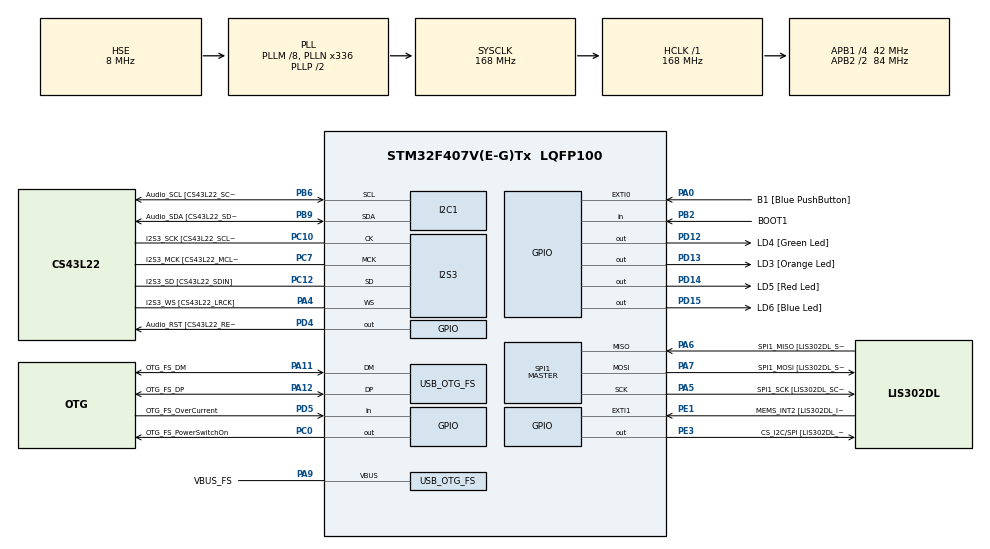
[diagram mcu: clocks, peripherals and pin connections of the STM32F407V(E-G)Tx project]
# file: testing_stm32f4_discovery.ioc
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I2S3.AudioFreq-Half_Duplex_Master=I2S_AUDIOFREQ_96K
I2S3.ErrorAudioFreq=-2.34 %
I2S3.ErrorAudioFreq-Half_Duplex_Master=0.8 %
I2S3.FullDuplexMode=I2S_FULLDUPLEXMODE_DISABLE
I2S3.Instance=SPI$Index
I2S3.RealAudioFreq=93.75 KHz
I2S3.RealAudioFreq-Half_Duplex_Master=96.774 KHz
I2S3.VirtualMode=I2S_MODE_MASTER
Mcu.Family=STM32F4
Mcu.Name=STM32F407V(E-G)Tx
Mcu.Package=LQFP100
NVIC.OTG_FS_IRQn=true\:0\:0\:false\:false\:true\:true\:true\:true
NVIC.PriorityGroup=NVIC_PRIORITYGROUP_0
PA0-WKUP.GPIO_Label=B1 [Blue PushButton]
PA0-WKUP.GPIO_ModeDefaultEXTI=GPIO_MODE_EVT_RISING
PA0-WKUP.GPIO_PuPd=GPIO_NOPULL
PA0-WKUP.Signal=GPXTI0
PA10.GPIO_Label=OTG_FS_ID
PA10.GPIO_Mode=GPIO_MODE_AF_PP
PA10.GPIO_PuPd=GPIO_NOPULL
PA10.GPIO_Speed=GPIO_SPEED_FREQ_LOW
PA10.Signal=USB_OTG_FS_ID
PA11.GPIO_Label=OTG_FS_DM
PA11.GPIO_Mode=GPIO_MODE_AF_PP
PA11.GPIO_PuPd=GPIO_NOPULL
PA11.GPIO_Speed=GPIO_SPEED_FREQ_LOW
PA11.Mode=Host_Only
PA11.Signal=USB_OTG_FS_DM
PA12.GPIO_Label=OTG_FS_DP
PA12.GPIO_Mode=GPIO_MODE_AF_PP
PA12.GPIO_PuPd=GPIO_NOPULL
PA12.GPIO_Speed=GPIO_SPEED_FREQ_LOW
PA12.Mode=Host_Only
PA12.Signal=USB_OTG_FS_DP
PA13.GPIO_Label=SWDIO
PA13.Mode=Serial_Wire
PA13.Signal=SYS_JTMS-SWDIO
PA14.GPIO_Label=SWCLK
PA14.Mode=Serial_Wire
PA14.Signal=SYS_JTCK-SWCLK
PA4.GPIO_Label=I2S3_WS [CS43L22_LRCK]
PA4.GPIO_Mode=GPIO_MODE_AF_PP
PA4.GPIO_PuPd=GPIO_NOPULL
PA4.GPIO_Speed=GPIO_SPEED_FREQ_LOW
PA4.Mode=Half_Duplex_Master
PA4.Signal=I2S3_WS
PA5.GPIO_Label=SPI1_SCK [LIS302DL_SCL/SPC]
PA5.GPIO_Mode=GPIO_MODE_AF_PP
PA5.GPIO_PuPd=GPIO_NOPULL
PA5.GPIO_Speed=GPIO_SPEED_FREQ_LOW
PA5.Mode=Full_Duplex_Master
PA5.Signal=SPI1_SCK
PA6.GPIO_Label=SPI1_MISO [LIS302DL_SDO]
PA6.GPIO_Mode=GPIO_MODE_AF_PP
PA6.GPIO_PuPd=GPIO_NOPULL
PA6.GPIO_Speed=GPIO_SPEED_FREQ_LOW
PA6.Mode=Full_Duplex_Master
PA6.Signal=SPI1_MISO
PA7.GPIO_Label=SPI1_MOSI [LIS302DL_SDA/SDI/SDO]
PA7.GPIO_Mode=GPIO_MODE_AF_PP
PA7.GPIO_PuPd=GPIO_NOPULL
PA7.GPIO_Speed=GPIO_SPEED_FREQ_LOW
PA7.Mode=Full_Duplex_Master
PA7.Signal=SPI1_MOSI
PA9.GPIO_Label=VBUS_FS
PA9.GPIO_Mode=GPIO_MODE_INPUT
PA9.GPIO_PuPd=GPIO_NOPULL
PA9.Mode=Activate_VBUS
PA9.Signal=USB_OTG_FS_VBUS
PB10.GPIO_Label=CLK_IN [MP45DT02_CLK]
PB10.GPIO_Mode=GPIO_MODE_AF_PP
PB10.GPIO_PuPd=GPIO_NOPULL
PB10.GPIO_Speed=GPIO_SPEED_FREQ_LOW
PB10.Signal=I2S2_CK
PB2.GPIO_Label=BOOT1
PB2.GPIO_Mode=GPIO_MODE_INPUT
PB2.GPIO_PuPd=GPIO_NOPULL
PB2.Signal=GPIO_Input
PB3.GPIO_Label=SWO
PB3.Signal=SYS_JTDO-SWO
PB6.GPIO_Label=Audio_SCL [CS43L22_SCL]
PB6.GPIO_Mode=GPIO_MODE_AF_OD
PB6.GPIO_Pu=GPIO_PULLUP
PB6.GPIO_PuPd=GPIO_NOPULL
PB6.GPIO_Speed=GPIO_SPEED_FREQ_LOW
PB6.Mode=I2C
PB6.Signal=I2C1_SCL
PB9.GPIO_Label=Audio_SDA [CS43L22_SDA]
PB9.GPIO_Mode=GPIO_MODE_AF_OD
PB9.GPIO_Pu=GPIO_PULLUP
PB9.GPIO_PuPd=GPIO_NOPULL
PB9.GPIO_Speed=GPIO_SPEED_FREQ_LOW
PB9.Mode=I2C
PB9.Signal=I2C1_SDA
PC0.GPIO_Label=OTG_FS_PowerSwitchOn
PC0.GPIO_PuPd=GPIO_NOPULL
PC0.GPIO_Speed=GPIO_SPEED_FREQ_LOW
PC0.PinState=GPIO_PIN_SET
PC0.Signal=GPIO_Output
PC10.GPIO_Label=I2S3_SCK [CS43L22_SCLK]
PC10.GPIO_Mode=GPIO_MODE_AF_PP
PC10.GPIO_PuPd=GPIO_NOPULL
PC10.GPIO_Speed=GPIO_SPEED_FREQ_LOW
PC10.Mode=Half_Duplex_Master
PC10.Signal=I2S3_CK
PC12.GPIO_Label=I2S3_SD [CS43L22_SDIN]
PC12.GPIO_Mode=GPIO_MODE_AF_PP
PC12.GPIO_PuPd=GPIO_NOPULL
PC12.GPIO_Speed=GPIO_SPEED_FREQ_LOW
PC12.Mode=Half_Duplex_Master
PC12.Signal=I2S3_SD
PC14-OSC32_IN.GPIO_Label=PC14-OSC32_IN
PC14-OSC32_IN.Mode=LSE-External-Oscillator
PC14-OSC32_IN.Signal=RCC_OSC32_IN
PC15-OSC32_OUT.GPIO_Label=PC15-OSC32_OUT
PC15-OSC32_OUT.Mode=LSE-External-Oscillator
PC15-OSC32_OUT.Signal=RCC_OSC32_OUT
PC3.GPIO_Label=PDM_OUT [MP45DT02_DOUT]
PC3.GPIO_Mode=GPIO_MODE_AF_PP
PC3.GPIO_PuPd=GPIO_NOPULL
PC3.GPIO_Speed=GPIO_SPEED_FREQ_LOW
PC3.Signal=I2S2_SD
PC7.GPIO_Label=I2S3_MCK [CS43L22_MCLK]
PC7.GPIO_Mode=GPIO_MODE_AF_PP
PC7.GPIO_PuPd=GPIO_NOPULL
PC7.GPIO_Speed=GPIO_SPEED_FREQ_LOW
PC7.Mode=Master_Clock_Activated
PC7.Signal=I2S3_MCK
PD12.GPIO_Label=LD4 [Green Led]
PD12.GPIO_PuPd=GPIO_NOPULL
PD12.GPIO_Speed=GPIO_SPEED_FREQ_LOW
PD12.Signal=GPIO_Output
PD13.GPIO_Label=LD3 [Orange Led]
PD13.GPIO_PuPd=GPIO_NOPULL
PD13.GPIO_Speed=GPIO_SPEED_FREQ_LOW
PD13.Signal=GPIO_Output
PD14.GPIO_Label=LD5 [Red Led]
PD14.GPIO_PuPd=GPIO_NOPULL
PD14.GPIO_Speed=GPIO_SPEED_FREQ_LOW
PD14.Signal=GPIO_Output
PD15.GPIO_Label=LD6 [Blue Led]
PD15.GPIO_PuPd=GPIO_NOPULL
PD15.GPIO_Speed=GPIO_SPEED_FREQ_LOW
PD15.Signal=GPIO_Output
PD4.GPIO_Label=Audio_RST [CS43L22_RESET]
PD4.GPIO_PuPd=GPIO_NOPULL
PD4.GPIO_Speed=GPIO_SPEED_FREQ_LOW
PD4.Signal=GPIO_Output
PD5.GPIO_Label=OTG_FS_OverCurrent
PD5.GPIO_Mode=GPIO_MODE_INPUT
PD5.GPIO_PuPd=GPIO_NOPULL
PD5.Signal=GPIO_Input
PE1.GPIO_Label=MEMS_INT2 [LIS302DL_INT2]
PE1.GPIO_ModeDefaultEXTI=GPIO_MODE_EVT_RISING
PE1.GPIO_PuPd=GPIO_NOPULL
PE1.Signal=GPXTI1
PE3.GPIO_Label=CS_I2C/SPI [LIS302DL_CS_I2C/SPI]
PE3.GPIO_PuPd=GPIO_NOPULL
PE3.GPIO_Speed=GPIO_SPEED_FREQ_LOW
PE3.Signal=GPIO_Output
PH0-OSC_IN.GPIO_Label=PH0-OSC_IN
PH0-OSC_IN.Mode=HSE-External-Oscillator
PH0-OSC_IN.Signal=RCC_OSC_IN
PH1-OSC_OUT.GPIO_Label=PH1-OSC_OUT
PH1-OSC_OUT.Mode=HSE-External-Oscillator
PH1-OSC_OUT.Signal=RCC_OSC_OUT
ProjectManager.HeapSize=0x200
ProjectManager.StackSize=0x400
ProjectManager.TargetToolchain=STM32CubeIDE
RCC.48MHZClocksFreq_Value=48000000
RCC.AHBFreq_Value=168000000
RCC.APB1CLKDivider=RCC_HCLK_DIV4
RCC.APB1Freq_Value=42000000
RCC.APB1TimFreq_Value=84000000
RCC.APB2CLKDivider=RCC_HCLK_DIV2
RCC.APB2Freq_Value=84000000
RCC.APB2TimFreq_Value=168000000
RCC.CortexFreq_Value=168000000
RCC.HCLKFreq_Value=168000000
RCC.HSE_VALUE=8000000
RCC.HSI_VALUE=16000000
RCC.PLLM=8
RCC.PLLN=336
RCC.PLLQ=7
RCC.SYSCLKFreq_VALUE=168000000
RCC.SYSCLKSource=RCC_SYSCLKSOURCE_PLLCLK
RCC.VCOOutputFreq_Value=336000000
SPI1.BaudRatePrescaler-Full_Duplex_Master=SPI_BAUDRATEPRESCALER_2
SPI1.CalculateBaudRate-Full_Duplex_Master=42.0 MBits/s
SPI1.Direction=SPI_DIRECTION_2LINES
SPI1.Mode=SPI_MODE_MASTER
SPI1.Mode-Full_Duplex_Master=SPI_MODE_MASTER
SPI1.VirtualType=VM_MASTER
USB_HOST.BSP.number=1
USB_HOST.USBH_HandleTypeDef-CDC_FS=hUsbHostFS
USB_HOST.VirtualModeFS=Cdc
USB_HOST0.BSP.STBoard=false
USB_HOST0.BSP.api=Unknown
USB_HOST0.BSP.instance=PC0
USB_HOST0.BSP.ip=GPIO
USB_HOST0.BSP.mode=Output
USB_HOST0.BSP.name=Drive_VBUS_FS
USB_HOST0.BSP.solution=PC0
USB_OTG_FS.VirtualMode=Host_Only
USB_OTG_FS.phy_itface=HCD_PHY_EMBEDDED
VP_USB_HOST_VS_USB_HOST_CDC_FS.Mode=CDC_FS
board=STM32F407G-DISC1

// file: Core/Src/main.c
/* USER CODE BEGIN Header */
/**
  ******************************************************************************
  * @file           : main.c
  * @brief          : Main program body
  ******************************************************************************
  * @attention
  *
  * Copyright (c) 2023 STMicroelectronics.
  * All rights reserved.
  *
  * This software is licensed under terms that can be found in the LICENSE file
  * in the root directory of this software component.
  * If no LICENSE file comes with this software, it is provided AS-IS.
  *
  ******************************************************************************
  */
/* USER CODE END Header */
#include "main.h"
#include "usb_host.h"

I2C_HandleTypeDef hi2c1;

I2S_HandleTypeDef hi2s3;

SPI_HandleTypeDef hspi1;

void SystemClock_Config(void);
static void MX_GPIO_Init(void);
static void MX_I2C1_Init(void);
static void MX_I2S3_Init(void);
static void MX_SPI1_Init(void);
void MX_USB_HOST_Process(void);

int main(void)
{

  /* MCU Configuration--------------------------------------------------------*/

  /* Reset of all peripherals, Initializes the Flash interface and the Systick. */
  HAL_Init();

  /* Configure the system clock */
  SystemClock_Config();

  /* Initialize all configured peripherals */
  MX_GPIO_Init();
  MX_I2C1_Init();
  MX_I2S3_Init();
  MX_SPI1_Init();
  MX_USB_HOST_Init();
  /* USER CODE BEGIN 2 */

  /* PA0  on the STM32 | B1 blue button on the development board */
  int readBlueButton() {
    if ( HAL_GPIO_ReadPin(GPIOA, GPIO_PIN_0) == 1 ) {
      return 1;
    } else {
      return 0;
    }
  }

  /* PD12 on the STM32 | LD4 green LED on the development board */
  void turnOnLedGreen() {
    HAL_GPIO_WritePin(GPIOD, GPIO_PIN_12, GPIO_PIN_SET);
  }
  void turnOffLedGreen() {
    HAL_GPIO_WritePin(GPIOD, GPIO_PIN_12, GPIO_PIN_RESET);
  }

  /* PD13 on the STM32 | LD3 orange LED on the development board */
  void turnOnLedOrange() {
    HAL_GPIO_WritePin(GPIOD, GPIO_PIN_13, GPIO_PIN_SET);
  }
  void turnOffLedOrange() {
    HAL_GPIO_WritePin(GPIOD, GPIO_PIN_13, GPIO_PIN_RESET);
  }

  /* PD14 on the STM32 | LD5 red LED on the development board */
  void turnOnLedRed() {
    HAL_GPIO_WritePin(GPIOD, GPIO_PIN_14, GPIO_PIN_SET);
  }
  void turnOffLedRed() {
    HAL_GPIO_WritePin(GPIOD, GPIO_PIN_14, GPIO_PIN_RESET);
  }

  /* PD15 on the STM32 | LD6 blue LED on the development board */
  void turnOnLedBlue() {
    HAL_GPIO_WritePin(GPIOD, GPIO_PIN_15, GPIO_PIN_SET);
  }
  void turnOffLedBlue() {
    HAL_GPIO_WritePin(GPIOD, GPIO_PIN_15, GPIO_PIN_RESET);
  }

  /* USER CODE END 2 */

  /* Infinite loop */
  /* USER CODE BEGIN WHILE */
  while (1)
  {
    if ( readBlueButton() == 1 ) {
      turnOnLedOrange();
    } else {
      turnOffLedOrange();
    }

    /* HAL_GPIO_TogglePin (GPIOD, GPIO_PIN_13); */
    /* HAL_Delay (100);   */

    /* USER CODE END WHILE */
    MX_USB_HOST_Process();
  }
}

void SystemClock_Config(void)
{
  RCC_OscInitTypeDef RCC_OscInitStruct = {0};
  RCC_ClkInitTypeDef RCC_ClkInitStruct = {0};

  /** Configure the main internal regulator output voltage
  */
  __HAL_RCC_PWR_CLK_ENABLE();
  __HAL_PWR_VOLTAGESCALING_CONFIG(PWR_REGULATOR_VOLTAGE_SCALE1);

  /** Initializes the RCC Oscillators according to the specified parameters
  * in the RCC_OscInitTypeDef structure.
  */
  RCC_OscInitStruct.OscillatorType = RCC_OSCILLATORTYPE_HSE;
  RCC_OscInitStruct.HSEState = RCC_HSE_ON;
  RCC_OscInitStruct.PLL.PLLState = RCC_PLL_ON;
  RCC_OscInitStruct.PLL.PLLSource = RCC_PLLSOURCE_HSE;
  RCC_OscInitStruct.PLL.PLLM = 8;
  RCC_OscInitStruct.PLL.PLLN = 336;
  RCC_OscInitStruct.PLL.PLLP = RCC_PLLP_DIV2;
  RCC_OscInitStruct.PLL.PLLQ = 7;
  if (HAL_RCC_OscConfig(&RCC_OscInitStruct) != HAL_OK)
  {
    Error_Handler();
  }

  /** Initializes the CPU, AHB and APB buses clocks
  */
  RCC_ClkInitStruct.ClockType = RCC_CLOCKTYPE_HCLK|RCC_CLOCKTYPE_SYSCLK
                              |RCC_CLOCKTYPE_PCLK1|RCC_CLOCKTYPE_PCLK2;
  RCC_ClkInitStruct.SYSCLKSource = RCC_SYSCLKSOURCE_PLLCLK;
  RCC_ClkInitStruct.AHBCLKDivider = RCC_SYSCLK_DIV1;
  RCC_ClkInitStruct.APB1CLKDivider = RCC_HCLK_DIV4;
  RCC_ClkInitStruct.APB2CLKDivider = RCC_HCLK_DIV2;

  if (HAL_RCC_ClockConfig(&RCC_ClkInitStruct, FLASH_LATENCY_5) != HAL_OK)
  {
    Error_Handler();
  }
}

static void MX_I2C1_Init(void)
{

  hi2c1.Instance = I2C1;
  hi2c1.Init.ClockSpeed = 100000;
  hi2c1.Init.DutyCycle = I2C_DUTYCYCLE_2;
  hi2c1.Init.OwnAddress1 = 0;
  hi2c1.Init.AddressingMode = I2C_ADDRESSINGMODE_7BIT;
  hi2c1.Init.DualAddressMode = I2C_DUALADDRESS_DISABLE;
  hi2c1.Init.OwnAddress2 = 0;
  hi2c1.Init.GeneralCallMode = I2C_GENERALCALL_DISABLE;
  hi2c1.Init.NoStretchMode = I2C_NOSTRETCH_DISABLE;
  if (HAL_I2C_Init(&hi2c1) != HAL_OK)
  {
    Error_Handler();
  }

}

static void MX_I2S3_Init(void)
{

  hi2s3.Instance = SPI3;
  hi2s3.Init.Mode = I2S_MODE_MASTER_TX;
  hi2s3.Init.Standard = I2S_STANDARD_PHILIPS;
  hi2s3.Init.DataFormat = I2S_DATAFORMAT_16B;
  hi2s3.Init.MCLKOutput = I2S_MCLKOUTPUT_ENABLE;
  hi2s3.Init.AudioFreq = I2S_AUDIOFREQ_96K;
  hi2s3.Init.CPOL = I2S_CPOL_LOW;
  hi2s3.Init.ClockSource = I2S_CLOCK_PLL;
  hi2s3.Init.FullDuplexMode = I2S_FULLDUPLEXMODE_DISABLE;
  if (HAL_I2S_Init(&hi2s3) != HAL_OK)
  {
    Error_Handler();
  }

}

static void MX_SPI1_Init(void)
{

  /* SPI1 parameter configuration*/
  hspi1.Instance = SPI1;
  hspi1.Init.Mode = SPI_MODE_MASTER;
  hspi1.Init.Direction = SPI_DIRECTION_2LINES;
  hspi1.Init.DataSize = SPI_DATASIZE_8BIT;
  hspi1.Init.CLKPolarity = SPI_POLARITY_LOW;
  hspi1.Init.CLKPhase = SPI_PHASE_1EDGE;
  hspi1.Init.NSS = SPI_NSS_SOFT;
  hspi1.Init.BaudRatePrescaler = SPI_BAUDRATEPRESCALER_2;
  hspi1.Init.FirstBit = SPI_FIRSTBIT_MSB;
  hspi1.Init.TIMode = SPI_TIMODE_DISABLE;
  hspi1.Init.CRCCalculation = SPI_CRCCALCULATION_DISABLE;
  hspi1.Init.CRCPolynomial = 10;
  if (HAL_SPI_Init(&hspi1) != HAL_OK)
  {
    Error_Handler();
  }

}

static void MX_GPIO_Init(void)
{
  GPIO_InitTypeDef GPIO_InitStruct = {0};

  /* GPIO Ports Clock Enable */
  __HAL_RCC_GPIOE_CLK_ENABLE();
  __HAL_RCC_GPIOC_CLK_ENABLE();
  __HAL_RCC_GPIOH_CLK_ENABLE();
  __HAL_RCC_GPIOA_CLK_ENABLE();
  __HAL_RCC_GPIOB_CLK_ENABLE();
  __HAL_RCC_GPIOD_CLK_ENABLE();

  /*Configure GPIO pin Output Level */
  HAL_GPIO_WritePin(CS_I2C_SPI_GPIO_Port, CS_I2C_SPI_Pin, GPIO_PIN_RESET);

  /*Configure GPIO pin Output Level */
  HAL_GPIO_WritePin(OTG_FS_PowerSwitchOn_GPIO_Port, OTG_FS_PowerSwitchOn_Pin, GPIO_PIN_SET);

  /*Configure GPIO pin Output Level */
  HAL_GPIO_WritePin(GPIOD, LD4_Pin|LD3_Pin|LD5_Pin|LD6_Pin
                          |Audio_RST_Pin, GPIO_PIN_RESET);

  /*Configure GPIO pin : CS_I2C_SPI_Pin */
  GPIO_InitStruct.Pin = CS_I2C_SPI_Pin;
  GPIO_InitStruct.Mode = GPIO_MODE_OUTPUT_PP;
  GPIO_InitStruct.Pull = GPIO_NOPULL;
  GPIO_InitStruct.Speed = GPIO_SPEED_FREQ_LOW;
  HAL_GPIO_Init(CS_I2C_SPI_GPIO_Port, &GPIO_InitStruct);

  /*Configure GPIO pin : OTG_FS_PowerSwitchOn_Pin */
  GPIO_InitStruct.Pin = OTG_FS_PowerSwitchOn_Pin;
  GPIO_InitStruct.Mode = GPIO_MODE_OUTPUT_PP;
  GPIO_InitStruct.Pull = GPIO_NOPULL;
  GPIO_InitStruct.Speed = GPIO_SPEED_FREQ_LOW;
  HAL_GPIO_Init(OTG_FS_PowerSwitchOn_GPIO_Port, &GPIO_InitStruct);

  /*Configure GPIO pin : PDM_OUT_Pin */
  GPIO_InitStruct.Pin = PDM_OUT_Pin;
  GPIO_InitStruct.Mode = GPIO_MODE_AF_PP;
  GPIO_InitStruct.Pull = GPIO_NOPULL;
  GPIO_InitStruct.Speed = GPIO_SPEED_FREQ_LOW;
  GPIO_InitStruct.Alternate = GPIO_AF5_SPI2;
  HAL_GPIO_Init(PDM_OUT_GPIO_Port, &GPIO_InitStruct);

  /*Configure GPIO pin : B1_Pin */
  GPIO_InitStruct.Pin = B1_Pin;
  GPIO_InitStruct.Mode = GPIO_MODE_EVT_RISING;
  GPIO_InitStruct.Pull = GPIO_NOPULL;
  HAL_GPIO_Init(B1_GPIO_Port, &GPIO_InitStruct);

  /*Configure GPIO pin : BOOT1_Pin */
  GPIO_InitStruct.Pin = BOOT1_Pin;
  GPIO_InitStruct.Mode = GPIO_MODE_INPUT;
  GPIO_InitStruct.Pull = GPIO_NOPULL;
  HAL_GPIO_Init(BOOT1_GPIO_Port, &GPIO_InitStruct);

  /*Configure GPIO pin : CLK_IN_Pin */
  GPIO_InitStruct.Pin = CLK_IN_Pin;
  GPIO_InitStruct.Mode = GPIO_MODE_AF_PP;
  GPIO_InitStruct.Pull = GPIO_NOPULL;
  GPIO_InitStruct.Speed = GPIO_SPEED_FREQ_LOW;
  GPIO_InitStruct.Alternate = GPIO_AF5_SPI2;
  HAL_GPIO_Init(CLK_IN_GPIO_Port, &GPIO_InitStruct);

  /*Configure GPIO pins : LD4_Pin LD3_Pin LD5_Pin LD6_Pin
                           Audio_RST_Pin */
  GPIO_InitStruct.Pin = LD4_Pin|LD3_Pin|LD5_Pin|LD6_Pin
                          |Audio_RST_Pin;
  GPIO_InitStruct.Mode = GPIO_MODE_OUTPUT_PP;
  GPIO_InitStruct.Pull = GPIO_NOPULL;
  GPIO_InitStruct.Speed = GPIO_SPEED_FREQ_LOW;
  HAL_GPIO_Init(GPIOD, &GPIO_InitStruct);

  /*Configure GPIO pin : OTG_FS_OverCurrent_Pin */
  GPIO_InitStruct.Pin = OTG_FS_OverCurrent_Pin;
  GPIO_InitStruct.Mode = GPIO_MODE_INPUT;
  GPIO_InitStruct.Pull = GPIO_NOPULL;
  HAL_GPIO_Init(OTG_FS_OverCurrent_GPIO_Port, &GPIO_InitStruct);

  /*Configure GPIO pin : MEMS_INT2_Pin */
  GPIO_InitStruct.Pin = MEMS_INT2_Pin;
  GPIO_InitStruct.Mode = GPIO_MODE_EVT_RISING;
  GPIO_InitStruct.Pull = GPIO_NOPULL;
  HAL_GPIO_Init(MEMS_INT2_GPIO_Port, &GPIO_InitStruct);

}

void Error_Handler(void)
{
  __disable_irq();
  while (1)
  {
  }
}
